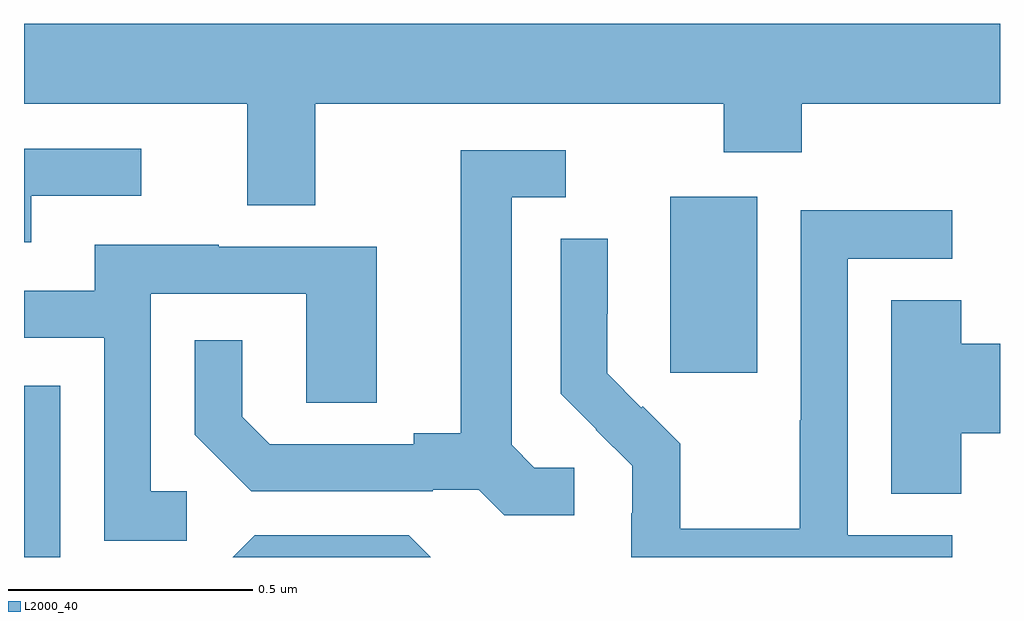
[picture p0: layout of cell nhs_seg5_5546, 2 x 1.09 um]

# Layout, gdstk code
import gdstk
lib = gdstk.Library(unit=1e-6, precision=1e-09)
def R(c, l, rs):  # rectangles x0, y0, x1, y1
    for r in rs: c.add(gdstk.rectangle(r[:2], r[2:], *l))
def P(c, l, *ps):  # polygons
    for p in ps: c.add(gdstk.Polygon(p, *l))
L2000_40 = (2000, 40)

nhs_seg5_5546 = lib.new_cell('nhs_seg5_5546')
R(nhs_seg5_5546, L2000_40, [(184,887.799,184.074,888.15), (185.324,888.177,185.503,888.538)])
P(nhs_seg5_5546, L2000_40, [(184.597,888.728),(185.434,888.728),(185.434,888.629),(185.594,888.629),(185.594,888.728),(186,888.728),(186,888.892),(184,888.892),(184,888.728),(184.457,888.728),(184.457,888.52),(184.597,888.52)],
  [(184.015,888.54),(184.24,888.54),(184.24,888.636),(184,888.636),(184,888.444),(184.015,888.444)],
  [(185.128,887.982),(185.046,887.982),(184.999,888.029),(184.999,888.537),(185.11,888.537),(185.11,888.633),(184.895,888.633),(184.895,888.053),(184.799,888.053),(184.799,888.03),(184.504,888.03),(184.447,888.087),(184.447,888.244),(184.35,888.244),(184.35,888.05),(184.466,887.934),(184.838,887.934),(184.838,887.937),(184.932,887.937),(184.984,887.885),(185.128,887.885)],
  [(185.902,887.844),(185.688,887.844),(185.688,888.411),(185.902,888.411),(185.902,888.51),(185.592,888.51),(185.592,888.08),(185.59,888.08),(185.59,887.857),(185.345,887.857),(185.345,888.031),(185.268,888.108),(185.265,888.105),(185.195,888.176),(185.195,888.298),(185.196,888.298),(185.196,888.452),(185.1,888.452),(185.1,888.134),(185.173,888.061),(185.172,888.06),(185.246,887.986),(185.246,887.889),(185.244,887.889),(185.244,887.799),(185.902,887.799)],
  [(184.333,887.934),(184.26,887.934),(184.26,888.339),(184.578,888.339),(184.578,888.115),(184.723,888.115),(184.723,888.435),(184.399,888.435),(184.399,888.439),(184.145,888.439),(184.145,888.345),(184,888.345),(184,888.249),(184.164,888.249),(184.164,887.833),(184.333,887.833)],
  [(185.921,888.053),(186,888.053),(186,888.236),(185.921,888.236),(185.921,888.326),(185.777,888.326),(185.777,887.929),(185.921,887.929)],
  [(184.788,887.844),(184.473,887.844),(184.428,887.799),(184.833,887.799)])

lib.write_gds('nhs_seg5_5546.gds')
